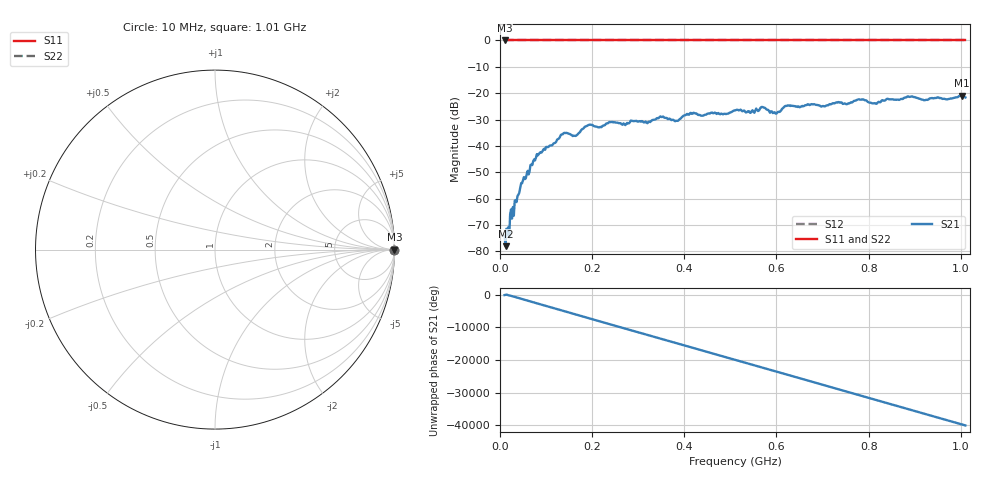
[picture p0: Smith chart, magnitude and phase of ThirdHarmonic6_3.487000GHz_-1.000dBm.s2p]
! 8/17/2025 11:21:23 AM
! C:\ANRITSUVNA\TEMP\TEMP.S2P
! CHANNEL.1
! TR.MEASUREMENT
! RAW.DATA
! RF.CORRECTION.OFF
! AVERAGING.OFF
! IF.BANDWIDTH: 5KHZ
! SWEEPTYPE:  FREQ.SWEEP(Linear)
! Reference Plane Port Info
! PORT:  PORT1  PORT2
! DISTANCE:  0  m  0  m
! TIME:  0  s  0  s
! PHASE.OFFSET:  0  deg.  0  deg.
! LOSS:  0  dB  0  dB
! REF.LOSS:  0  dB  0  dB
! REF.FREQ:  0  Hz  0  Hz
! Power Info
! POWER:  -20  dBm  -20  dBm
! EFF.POWER:  -20  dBm  -20  dBm
! SOURCE.ATTEN:  0  dB  0  dB
! TEST.ATTEN:  0  dB  0  dB
# GHZ S RI R 50.0
! FREQ.GHZ  S11RE  S11IM  S21RE  S21IM  S12RE  S12IM  S22RE  S22IM
!; PortSelection: Port_12
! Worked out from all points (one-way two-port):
!   501 points, 10 MHz to 1.01 GHz, reference 50 ohm
!   highest |S21| = -20.97 dB at 1.002 GHz (marker M1); lowest = -78.1 dB at 12 MHz (marker M2)
!   lowest |S11| = 0.0 dB at 10 MHz (marker M3)
!   |S11| at or under -10 dB: nowhere
!   |S22| runs from 0.0 to 0.0 dB; largest |S21 - S12| = 1.1
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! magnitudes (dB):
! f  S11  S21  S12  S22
! 10 MHz  0.0  -74.1  0.0  0.0
! 12 MHz  0.0  -78.1  0.0  0.0
! 16 MHz  0.0  -73.6  0.0  0.0
! 26 MHz  0.0  -67.6  0.0  0.0
! 48 MHz  0.0  -54.2  0.0  0.0
! 76 MHz  0.0  -45.5  0.0  0.0
! 136 MHz  0.0  -35.6  0.0  0.0
! 162 MHz  0.0  -36.2  0.0  0.0
! 178 MHz  0.0  -33.7  0.0  0.0
! 194 MHz  0.0  -32.0  0.0  0.0
! 322 MHz  0.0  -31.0  0.0  0.0
! 344 MHz  0.0  -29.5  0.0  0.0
! 384 MHz  0.0  -30.5  0.0  0.0
! 416 MHz  0.0  -27.8  0.0  0.0
! 510 MHz  0.0  -26.5  0.0  0.0
! 570 MHz  0.0  -25.3  0.0  0.0
! 596 MHz  0.0  -27.2  0.0  0.0
! 622 MHz  0.0  -24.8  0.0  0.0
! 678 MHz  0.0  -24.2  0.0  0.0
! 844 MHz  0.0  -22.3  0.0  0.0
! 1.002 GHz  0.0  -21.0  0.0  0.0
! 1.01 GHz  0.0  -21.6  0.0  0.0
